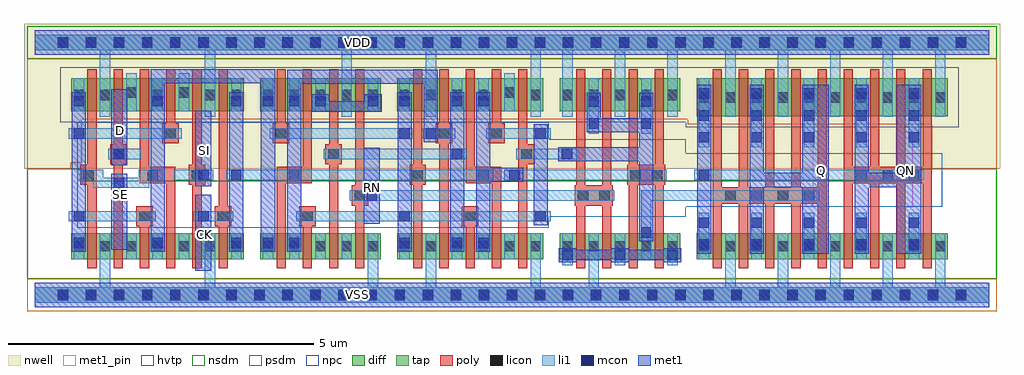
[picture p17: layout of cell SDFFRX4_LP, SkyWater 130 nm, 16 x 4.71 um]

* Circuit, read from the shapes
.subckt SDFFRX4_LP CK D Q QN RN SE SI VDD VSS
XM1 VSS SE n1 VSS sky130_fd_pr__nfet_01v8 w=0.42 l=0.15
XM2 n2 D VSS VSS sky130_fd_pr__nfet_01v8 w=0.42 l=0.15
XM3 n3 n1 n2 VSS sky130_fd_pr__nfet_01v8 w=0.42 l=0.15
XM4 n4 SE n3 VSS sky130_fd_pr__nfet_01v8 w=0.42 l=0.15
XM5 VSS SI n4 VSS sky130_fd_pr__nfet_01v8 w=0.42 l=0.15
XM6 n5 CK VSS VSS sky130_fd_pr__nfet_01v8 w=0.42 l=0.15
XM7 n6 n5 n3 VSS sky130_fd_pr__nfet_01v8 w=0.42 l=0.15
XM8 n7 n8 n6 VSS sky130_fd_pr__nfet_01v8 w=0.42 l=0.15
XM9 n9 n10 n7 VSS sky130_fd_pr__nfet_01v8 w=0.42 l=0.15
XM10 VSS RN n9 VSS sky130_fd_pr__nfet_01v8 w=0.42 l=0.15
XM11 VSS n5 n8 VSS sky130_fd_pr__nfet_01v8 w=0.42 l=0.15
XM12 n10 n6 VSS VSS sky130_fd_pr__nfet_01v8 w=0.42 l=0.15
XM13 n11 n8 n10 VSS sky130_fd_pr__nfet_01v8 w=0.42 l=0.15
XM14 n12 n5 n11 VSS sky130_fd_pr__nfet_01v8 w=0.42 l=0.15
XM15 VSS n13 n12 VSS sky130_fd_pr__nfet_01v8 w=0.42 l=0.15
XM16 VSS RN n14 VSS sky130_fd_pr__nfet_01v8 w=0.42 l=0.15 m=2
XM17 n13 n11 n14 VSS sky130_fd_pr__nfet_01v8 w=0.42 l=0.15 m=2
XM18 VSS n13 n15 VSS sky130_fd_pr__nfet_01v8 w=0.42 l=0.15
XM19 Q n13 VSS VSS sky130_fd_pr__nfet_01v8 w=0.42 l=0.15 m=4
XM20 QN n15 VSS VSS sky130_fd_pr__nfet_01v8 w=0.42 l=0.15 m=4
XM21 VDD SE n1 VDD sky130_fd_pr__pfet_01v8_hvt w=0.54 l=0.15
XM22 n16 D VDD VDD sky130_fd_pr__pfet_01v8_hvt w=0.54 l=0.15
XM23 n3 SE n16 VDD sky130_fd_pr__pfet_01v8_hvt w=0.54 l=0.15
XM24 n17 n1 n3 VDD sky130_fd_pr__pfet_01v8_hvt w=0.54 l=0.15
XM25 VDD SI n17 VDD sky130_fd_pr__pfet_01v8_hvt w=0.54 l=0.15
XM26 n5 CK VDD VDD sky130_fd_pr__pfet_01v8_hvt w=0.54 l=0.15
XM27 n6 n8 n3 VDD sky130_fd_pr__pfet_01v8_hvt w=0.54 l=0.15
XM28 n18 n5 n6 VDD sky130_fd_pr__pfet_01v8_hvt w=0.54 l=0.15
XM29 VDD n10 n18 VDD sky130_fd_pr__pfet_01v8_hvt w=0.54 l=0.15
XM30 n18 RN VDD VDD sky130_fd_pr__pfet_01v8_hvt w=0.54 l=0.15
XM31 VDD n5 n8 VDD sky130_fd_pr__pfet_01v8_hvt w=0.54 l=0.15
XM32 n10 n6 VDD VDD sky130_fd_pr__pfet_01v8_hvt w=0.54 l=0.15
XM33 n11 n5 n10 VDD sky130_fd_pr__pfet_01v8_hvt w=0.54 l=0.15
XM34 n19 n8 n11 VDD sky130_fd_pr__pfet_01v8_hvt w=0.54 l=0.15
XM35 VDD n13 n19 VDD sky130_fd_pr__pfet_01v8_hvt w=0.54 l=0.15
XM36 n13 RN VDD VDD sky130_fd_pr__pfet_01v8_hvt w=0.54 l=0.15 m=2
XM37 n13 n11 VDD VDD sky130_fd_pr__pfet_01v8_hvt w=0.54 l=0.15 m=2
XM38 VDD n13 n15 VDD sky130_fd_pr__pfet_01v8_hvt w=0.62 l=0.15
XM39 Q n13 VDD VDD sky130_fd_pr__pfet_01v8_hvt w=0.62 l=0.15 m=4
XM40 QN n15 VDD VDD sky130_fd_pr__pfet_01v8_hvt w=0.62 l=0.15 m=4
.ends

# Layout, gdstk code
from math import pi, radians
import gdstk
lib = gdstk.Library(unit=1e-6, precision=1e-09)
def R(c, l, rs):  # rectangles x0, y0, x1, y1
    for r in rs: c.add(gdstk.rectangle(r[:2], r[2:], *l))
def A(c, l, x, y, w, h, nx, ny, dx, dy):  # array of equal rectangles
    R(c, l, [(x+i*dx, y+j*dy, x+i*dx+w, y+j*dy+h) for i in range(nx) for j in range(ny)])
def P(c, l, *ps):  # polygons
    for p in ps: c.add(gdstk.Polygon(p, *l))
nwell = (64, 20)
diff = (65, 20)
tap = (65, 44)
poly = (66, 20)
licon = (66, 44)
li1 = (67, 20)
mcon = (67, 44)
met1_pin = (68, 16)
met1 = (68, 20)
hvtp = (78, 44)
nsdm = (93, 44)
psdm = (94, 20)
npc = (95, 20)

pyl1con_c_cdns_758729379 = lib.new_cell('PYL1CON_C_CDNS_758729379653')
R(pyl1con_c_cdns_758729379, poly, [(-0.135,-0.165,0.135,0.165)])
R(pyl1con_c_cdns_758729379, licon, [(-0.085,-0.085,0.085,0.085)])
R(pyl1con_c_cdns_758729379, npc, [(-0.185,-0.185,0.185,0.185)])

l1m1_c_cdns_758729379651 = lib.new_cell('L1M1_C_CDNS_7587293796510')
R(l1m1_c_cdns_758729379651, li1, [(-0.085,-0.525,0.085,0.525)])
A(l1m1_c_cdns_758729379651, mcon, -0.085, -0.445, 0.17, 0.17, 1, 3, 0, 0.36)
R(l1m1_c_cdns_758729379651, met1, [(-0.115,-0.505,0.115,0.505)])

l1m1_c_cdns_758729379655 = lib.new_cell('L1M1_C_CDNS_758729379655')
R(l1m1_c_cdns_758729379655, li1, [(-0.085,-0.165,0.085,0.165)])
R(l1m1_c_cdns_758729379655, mcon, [(-0.085,-0.085,0.085,0.085)])
R(l1m1_c_cdns_758729379655, met1, [(-0.115,-0.145,0.115,0.145)])

l1m1_c_cdns_758729379659 = lib.new_cell('L1M1_C_CDNS_758729379659')
R(l1m1_c_cdns_758729379659, li1, [(-0.085,-0.345,0.085,0.345)])
R(l1m1_c_cdns_758729379659, mcon, [(-0.085,-0.265,0.085,-0.095), (-0.085,0.095,0.085,0.265)])
R(l1m1_c_cdns_758729379659, met1, [(-0.115,-0.325,0.115,0.325)])

l1m1_c_cdns_758729379654 = lib.new_cell('L1M1_C_CDNS_758729379654')
R(l1m1_c_cdns_758729379654, li1, [(-0.165,-0.085,0.165,0.085)])
R(l1m1_c_cdns_758729379654, mcon, [(-0.085,-0.085,0.085,0.085)])
R(l1m1_c_cdns_758729379654, met1, [(-0.115,-0.145,0.115,0.145)])

l1m1_c_cdns_758729379652 = lib.new_cell('L1M1_C_CDNS_758729379652')
R(l1m1_c_cdns_758729379652, li1, [(-0.085,-0.165,0.085,0.165)])
R(l1m1_c_cdns_758729379652, mcon, [(-0.085,-0.085,0.085,0.085)])
R(l1m1_c_cdns_758729379652, met1, [(-0.145,-0.115,0.145,0.115)])

licondiff_c_cdns_7587293 = lib.new_cell('LICONDIFF_C_CDNS_758729379657')
R(licondiff_c_cdns_7587293, diff, [(-0.125,-0.145,0.125,0.145)])
R(licondiff_c_cdns_7587293, licon, [(-0.085,-0.085,0.085,0.085), (-0.085,-0.085,0.085,0.085)])

c_l1m1_c_cdns_758729379651 = lib.new_cell('L1M1_C_CDNS_7587293796512')
R(c_l1m1_c_cdns_758729379651, li1, [(-0.165,-0.085,0.165,0.085)])
R(c_l1m1_c_cdns_758729379651, mcon, [(-0.085,-0.085,0.085,0.085)])
R(c_l1m1_c_cdns_758729379651, met1, [(-0.145,-0.115,0.145,0.115)])

c_pyl1con_c_cdns_758729379 = lib.new_cell('PYL1CON_C_CDNS_7587293796516')
R(c_pyl1con_c_cdns_758729379, poly, [(-0.135,-0.29,0.135,0.29)])
R(c_pyl1con_c_cdns_758729379, licon, [(-0.085,-0.085,0.085,0.085)])
R(c_pyl1con_c_cdns_758729379, npc, [(-0.185,-0.185,0.185,0.185)])

c_l1m1_c_cdns_758729379651_ = lib.new_cell('L1M1_C_CDNS_7587293796519')
R(c_l1m1_c_cdns_758729379651_, li1, [(-0.125,-0.085,0.125,0.085)])
R(c_l1m1_c_cdns_758729379651_, mcon, [(-0.085,-0.085,0.085,0.085)])
R(c_l1m1_c_cdns_758729379651_, met1, [(-0.115,-0.145,0.115,0.145)])

c_pyl1con_c_cdns_758729379_ = lib.new_cell('PYL1CON_C_CDNS_7587293796520')
R(c_pyl1con_c_cdns_758729379_, poly, [(-0.135,-0.37,0.135,0.21)])
R(c_pyl1con_c_cdns_758729379_, licon, [(-0.085,-0.085,0.085,0.085)])
R(c_pyl1con_c_cdns_758729379_, npc, [(-0.185,-0.185,0.185,0.185)])

sdffrx4_lp = lib.new_cell('SDFFRX4_LP')
R(sdffrx4_lp, nwell, [(-0.18,2.07,15.82,4.445)])
R(sdffrx4_lp, diff, [(0.595,0.59,3.425,1.01), (3.695,0.59,5.665,1.01), (5.935,0.59,8.335,1.01), (8.605,0.59,10.575,1.01), (10.845,0.59,14.965,1.01), (10.845,2.93,14.965,3.55), (0.595,3.01,3.425,3.55), (3.695,3.01,5.665,3.55), (5.935,3.01,8.335,3.55), (8.605,3.01,10.575,3.55)])
A(sdffrx4_lp, poly, 1.72, 0.44, 0.15, 0.72, 3, 1, 2.67, 0)
A(sdffrx4_lp, poly, 11.11, 0.44, 0.15, 3.26, 9, 1, 0.43, 0)
R(sdffrx4_lp, poly, [(0.86,0.44,1.01,3.7), (1.29,0.44,1.44,3.7), (2.58,0.44,2.73,3.7), (3.01,0.44,3.16,3.7), (4.82,0.44,4.97,3.7), (5.25,0.44,5.4,3.7), (6.2,0.44,6.35,3.7), (6.63,0.44,6.78,3.7), (7.92,0.44,8.07,3.7), (2.15,2.65,2.3,3.7), (3.96,2.65,4.11,3.7), (7.49,2.65,7.64,3.7)])
P(sdffrx4_lp, poly, [(2.3,2.045),(1.87,2.045),(1.87,3.7),(1.72,3.7),(1.72,1.895),(2.15,1.895),(2.15,0.44),(2.3,0.44)],
  [(4.54,3.7),(4.39,3.7),(4.39,2.045),(3.96,2.045),(3.96,0.44),(4.11,0.44),(4.11,1.895),(4.54,1.895)],
  [(7.64,2.045),(7.21,2.045),(7.21,3.7),(7.06,3.7),(7.06,1.895),(7.49,1.895),(7.49,0.44),(7.64,0.44)],
  [(9.47,1.795),(9.45,1.795),(9.45,3.7),(9.3,3.7),(9.3,1.795),(9.02,1.795),(9.02,3.7),(8.87,3.7),(8.87,1.795),(8.85,1.795),(8.85,1.465),(8.87,1.465),(8.87,0.44),(9.02,0.44),(9.02,1.465),(9.3,1.465),(9.3,0.44),(9.45,0.44),(9.45,1.465),(9.47,1.465)],
  [(10.33,2.135),(10.31,2.135),(10.31,3.7),(10.16,3.7),(10.16,2.135),(9.88,2.135),(9.88,3.7),(9.73,3.7),(9.73,2.135),(9.71,2.135),(9.71,1.805),(9.73,1.805),(9.73,0.44),(9.88,0.44),(9.88,1.805),(10.16,1.805),(10.16,0.44),(10.31,0.44),(10.31,1.805),(10.33,1.805)])
A(sdffrx4_lp, licon, 0.375, -0.085, 0.17, 0.17, 33, 2, 0.46, 4.14)
A(sdffrx4_lp, licon, 1.065, 0.715, 0.17, 0.17, 3, 2, 0.86, 2.48)
A(sdffrx4_lp, licon, 5.975, 0.715, 0.17, 0.17, 4, 2, 0.43, 2.48)
A(sdffrx4_lp, licon, 8.645, 0.715, 0.17, 0.17, 5, 2, 0.43, 2.48)
A(sdffrx4_lp, licon, 10.885, 0.715, 0.17, 0.17, 10, 2, 0.43, 2.44)
A(sdffrx4_lp, licon, 3.735, 3.195, 0.17, 0.17, 5, 1, 0.43, 0)
R(sdffrx4_lp, licon, [(0.635,0.715,0.805,0.885), (3.215,0.715,3.385,0.885), (3.735,0.715,3.905,0.885), (4.165,0.715,4.335,0.885), (5.455,0.715,5.625,0.885), (8.125,0.715,8.295,0.885), (0.635,3.195,0.805,3.365), (3.215,3.195,3.385,3.365), (8.125,3.195,8.295,3.365)])
A(sdffrx4_lp, li1, 0.635, 0.59, 0.17, 0.42, 3, 1, 1.29, 0)
A(sdffrx4_lp, li1, 8.645, 0.59, 0.17, 0.42, 3, 1, 0.86, 0)
A(sdffrx4_lp, li1, 10.885, 0.59, 0.17, 0.42, 5, 1, 0.86, 0)
A(sdffrx4_lp, li1, 10.885, 2.93, 0.17, 0.62, 5, 1, 0.86, 0)
A(sdffrx4_lp, li1, 0.635, 3.01, 0.17, 0.54, 3, 1, 1.29, 0)
A(sdffrx4_lp, li1, 3.735, 3.01, 0.17, 0.54, 3, 1, 0.43, 0)
R(sdffrx4_lp, li1, [(3.735,0.59,3.905,1.01), (4.165,0.59,4.335,1.01), (5.975,0.59,6.145,1.01), (6.835,0.59,7.005,1.01), (7.265,0.59,7.435,1.01), (5.455,3.01,5.625,3.55), (5.975,3.01,6.145,3.55), (6.835,3.01,7.005,3.55), (7.265,3.01,7.435,3.55), (9.075,3.01,9.245,3.55), (9.935,3.01,10.105,3.55)])
P(sdffrx4_lp, li1, [(2.095,2.055),(1.705,2.055),(1.705,1.925),(1.12,1.925),(1.12,2.055),(0.69,2.055),(0.69,1.885),(0.95,1.885),(0.95,1.755),(1.875,1.755),(1.875,1.885),(2.095,1.885)],
  [(12.855,1.715),(9.935,1.715),(9.935,0.59),(10.105,0.59),(10.105,1.545),(12.855,1.545)],
  [(15.64,4.265),(0,4.265),(0,4.015),(1.065,4.015),(1.065,2.925),(1.235,2.925),(1.235,4.015),(2.785,4.015),(2.785,2.925),(2.955,2.925),(2.955,4.015),(5.025,4.015),(5.025,2.925),(5.195,2.925),(5.195,4.015),(6.405,4.015),(6.405,2.925),(6.575,2.925),(6.575,4.015),(8.125,4.015),(8.125,2.925),(8.295,2.925),(8.295,4.015),(8.645,4.015),(8.645,2.925),(8.815,2.925),(8.815,4.015),(9.505,4.015),(9.505,2.925),(9.675,2.925),(9.675,4.015),(10.365,4.015),(10.365,2.925),(10.535,2.925),(10.535,4.015),(11.315,4.015),(11.315,2.925),(11.485,2.925),(11.485,4.015),(12.175,4.015),(12.175,2.925),(12.345,2.925),(12.345,4.015),(13.035,4.015),(13.035,2.925),(13.205,2.925),(13.205,4.015),(13.895,4.015),(13.895,2.925),(14.065,2.925),(14.065,4.015),(14.755,4.015),(14.755,2.925),(14.925,2.925),(14.925,4.015),(15.64,4.015)],
  [(15.64,0.125),(14.925,0.125),(14.925,1.015),(14.755,1.015),(14.755,0.125),(14.065,0.125),(14.065,1.015),(13.895,1.015),(13.895,0.125),(13.205,0.125),(13.205,1.015),(13.035,1.015),(13.035,0.125),(12.345,0.125),(12.345,1.015),(12.175,1.015),(12.175,0.125),(11.485,0.125),(11.485,1.015),(11.315,1.015),(11.315,0.125),(9.245,0.125),(9.245,1.015),(9.075,1.015),(9.075,0.125),(8.295,0.125),(8.295,1.015),(8.125,1.015),(8.125,0.125),(6.575,0.125),(6.575,1.015),(6.405,1.015),(6.405,0.125),(5.625,0.125),(5.625,1.015),(5.455,1.015),(5.455,0.125),(2.955,0.125),(2.955,1.015),(2.785,1.015),(2.785,0.125),(1.235,0.125),(1.235,1.015),(1.065,1.015),(1.065,0.125),(0,0.125),(0,-0.125),(15.64,-0.125)])
A(sdffrx4_lp, mcon, 0.375, -0.085, 0.17, 0.17, 33, 2, 0.46, 4.14)
R(sdffrx4_lp, met1_pin, [(2.63,0.4,2.89,1.64), (1.25,0.745,1.51,1.985), (5.39,1.17,5.65,2.41), (14.13,1.44,14.39,2.68), (12.75,1.445,13.01,2.685), (2.63,1.78,2.89,3.02), (1.25,2.13,1.51,3.37)])
P(sdffrx4_lp, met1, [(8.005,2.085),(7.465,2.085),(7.465,3.235),(7.235,3.235),(7.235,0.705),(7.465,0.705),(7.465,1.855),(8.005,1.855)],
  [(10.135,3.315),(9.905,3.315),(9.905,2.895),(9.045,2.895),(9.045,2.665),(9.905,2.665),(9.905,2.425),(8.575,2.425),(8.575,2.195),(9.905,2.195),(9.905,0.88),(10.135,0.88)],
  [(13.01,3.45),(12.575,3.45),(12.575,2),(11.945,2),(11.945,3.45),(11.715,3.45),(11.715,0.68),(11.945,0.68),(11.945,1.77),(12.575,1.77),(12.575,0.685),(12.75,0.685),(12.75,0.68),(13.01,0.68)],
  [(14.525,3.445),(14.13,3.445),(14.13,2),(13.665,2),(13.665,3.45),(13.435,3.45),(13.435,0.68),(13.665,0.68),(13.665,1.77),(14.13,1.77),(14.13,0.675),(14.525,0.675)])
P(sdffrx4_lp, hvtp, [(15.145,3.73),(0.415,3.73),(0.415,2.83),(10.665,2.83),(10.665,2.75),(15.145,2.75)])
R(sdffrx4_lp, nsdm, [(-0.125,3.875,15.765,4.405)])
P(sdffrx4_lp, nsdm, [(15.765,2.07),(14.515,2.07),(14.515,1.875),(0.77,1.875),(0.77,2.07),(-0.125,2.07),(-0.125,0.265),(15.765,0.265)])
R(sdffrx4_lp, psdm, [(-0.125,-0.265,15.765,0.265)])
P(sdffrx4_lp, psdm, [(15.765,3.875),(-0.125,3.875),(-0.125,2.07),(0.585,2.07),(0.585,2.17),(0.77,2.17),(0.77,2.88),(10.705,2.88),(10.705,2.8),(14.7,2.8),(14.7,2.07),(15.765,2.07)])
P(sdffrx4_lp, npc, [(14.87,2.325),(10.665,2.325),(10.665,2.55),(8.425,2.55),(8.425,2.835),(0.69,2.835),(0.69,1.105),(8.425,1.105),(8.425,1.285),(10.665,1.285),(10.665,1.445),(14.87,1.445)])
sdffrx4_lp.add(gdstk.FlexPath([(6.365,2.65),(6.89,2.65)], 0.17, ends="flush", simple_path=True, layer=67, datatype=20))  # li1
sdffrx4_lp.add(gdstk.FlexPath([(3.85,2.65),(6.185,2.65)], 0.17, ends="flush", simple_path=True, layer=67, datatype=20))  # li1
sdffrx4_lp.add(gdstk.FlexPath([(7.4,2.65),(8.455,2.65)], 0.17, ends="flush", simple_path=True, layer=67, datatype=20))  # li1
sdffrx4_lp.add(gdstk.FlexPath([(0.555,1.29),(1.98,1.29)], 0.17, ends="flush", simple_path=True, layer=67, datatype=20))  # li1
sdffrx4_lp.add(gdstk.FlexPath([(7.78,3.01),(7.78,3.635)], 0.17, ends="flush", simple_path=True, layer=67, datatype=20))  # li1
sdffrx4_lp.add(gdstk.FlexPath([(7.78,0.59),(7.78,1.015)], 0.17, ends="flush", simple_path=True, layer=67, datatype=20))  # li1
sdffrx4_lp.add(gdstk.FlexPath([(5.11,0.59),(5.11,1.015)], 0.17, ends="flush", simple_path=True, layer=67, datatype=20))  # li1
sdffrx4_lp.add(gdstk.FlexPath([(4.68,0.59),(4.68,1.015)], 0.17, ends="flush", simple_path=True, layer=67, datatype=20))  # li1
sdffrx4_lp.add(gdstk.FlexPath([(2.82,1.97),(2.275,1.97)], 0.17, ends="flush", simple_path=True, layer=67, datatype=20))  # li1
sdffrx4_lp.add(gdstk.FlexPath([(3.25,1.29),(2.705,1.29)], 0.17, ends="flush", simple_path=True, layer=67, datatype=20))  # li1
sdffrx4_lp.add(gdstk.FlexPath([(3.135,1.97),(7.515,1.97)], 0.17, ends="flush", simple_path=True, layer=67, datatype=20))  # li1
sdffrx4_lp.add(gdstk.FlexPath([(0.555,2.65),(2.41,2.65)], 0.17, ends="flush", simple_path=True, layer=67, datatype=20))  # li1
sdffrx4_lp.add(gdstk.FlexPath([(1.58,3.01),(1.58,3.635)], 0.17, ends="flush", simple_path=True, layer=67, datatype=20))  # li1
sdffrx4_lp.add(gdstk.FlexPath([(2.44,3.01),(2.44,3.635)], 0.17, ends="flush", simple_path=True, layer=67, datatype=20))  # li1
sdffrx4_lp.add(gdstk.FlexPath([(7.695,1.97),(10.36,1.97)], 0.17, ends="flush", simple_path=True, layer=67, datatype=20))  # li1
sdffrx4_lp.add(gdstk.FlexPath([(5.16,1.63),(9.5,1.63)], 0.17, ends="flush", simple_path=True, layer=67, datatype=20))  # li1
sdffrx4_lp.add(gdstk.FlexPath([(7.89,2.31),(8.885,2.31)], 0.17, ends="flush", simple_path=True, layer=67, datatype=20))  # li1
sdffrx4_lp.add(gdstk.FlexPath([(4.28,1.29),(8.455,1.29)], 0.17, ends="flush", simple_path=True, layer=67, datatype=20))  # li1
sdffrx4_lp.add(gdstk.FlexPath([(10.97,1.97),(14.575,1.97)], 0.17, ends="flush", simple_path=True, layer=67, datatype=20))  # li1
sdffrx4_lp.add(gdstk.FlexPath([(1.58,0.59),(1.58,1.015)], 0.17, ends="flush", simple_path=True, layer=67, datatype=20))  # li1
sdffrx4_lp.add(gdstk.FlexPath([(2.44,0.59),(2.44,1.015)], 0.17, ends="flush", simple_path=True, layer=67, datatype=20))  # li1
sdffrx4_lp.add(gdstk.FlexPath([(1.745,2.31),(1.2,2.31)], 0.17, ends="flush", simple_path=True, layer=67, datatype=20))  # li1
sdffrx4_lp.add(gdstk.FlexPath([(7.085,2.31),(4.73,2.31)], 0.17, ends="flush", simple_path=True, layer=67, datatype=20))  # li1
sdffrx4_lp.add(gdstk.FlexPath([(0,4.14),(15.64,4.14)], 0.4, ends="flush", simple_path=True, layer=68, datatype=20))  # met1
sdffrx4_lp.add(gdstk.FlexPath([(0,0),(15.64,0)], 0.4, ends="flush", simple_path=True, layer=68, datatype=20))  # met1
sdffrx4_lp.add(gdstk.FlexPath([(8.29,1.145),(8.29,2.795)], 0.23, ends="flush", simple_path=True, layer=68, datatype=20))  # met1
sdffrx4_lp.add(gdstk.FlexPath([(2.01,0.8),(2.01,3.585),(3.82,3.585),(3.82,0.8)], 0.23, ends="flush", simple_path=True, layer=68, datatype=20))  # met1
sdffrx4_lp.add(gdstk.FlexPath([(0.72,0.705),(0.72,3.235)], 0.23, ends="flush", simple_path=True, layer=68, datatype=20))  # met1
sdffrx4_lp.add(gdstk.FlexPath([(6.06,0.705),(6.06,3.235)], 0.23, ends="flush", simple_path=True, layer=68, datatype=20))  # met1
sdffrx4_lp.add(gdstk.FlexPath([(3.3,0.705),(3.3,3.235)], 0.23, ends="flush", simple_path=True, layer=68, datatype=20))  # met1
sdffrx4_lp.add(gdstk.FlexPath([(5.52,1.17),(5.52,2.41)], 0.26, ends="flush", simple_path=True, layer=68, datatype=20))  # met1
sdffrx4_lp.add(gdstk.FlexPath([(2.76,0.4),(2.76,1.64)], 0.26, ends="flush", simple_path=True, layer=68, datatype=20))  # met1
sdffrx4_lp.add(gdstk.FlexPath([(2.76,1.78),(2.76,3.02)], 0.26, ends="flush", simple_path=True, layer=68, datatype=20))  # met1
sdffrx4_lp.add(gdstk.FlexPath([(1.38,2.13),(1.38,3.37)], 0.26, ends="flush", simple_path=True, layer=68, datatype=20))  # met1
sdffrx4_lp.add(gdstk.FlexPath([(10.97,0.68),(10.97,3.45)], 0.23, ends="flush", simple_path=True, layer=68, datatype=20))  # met1
sdffrx4_lp.add(gdstk.FlexPath([(8.585,0.655),(10.595,0.655)], 0.17, ends="flush", simple_path=True, layer=68, datatype=20))  # met1
sdffrx4_lp.add(gdstk.FlexPath([(4.535,3.09),(5.685,3.09)], 0.17, ends="flush", simple_path=True, layer=68, datatype=20))  # met1
sdffrx4_lp.add(gdstk.FlexPath([(1.38,0.745),(1.38,1.985)], 0.26, ends="flush", simple_path=True, layer=68, datatype=20))  # met1
sdffrx4_lp.add(gdstk.FlexPath([(6.92,0.705),(6.92,3.235)], 0.23, ends="flush", simple_path=True, layer=68, datatype=20))  # met1
sdffrx4_lp.add(gdstk.FlexPath([(6.49,2.565),(6.49,3.58),(4.25,3.58),(4.25,0.795)], 0.23, ends="flush", simple_path=True, layer=68, datatype=20))  # met1
sdffrx4_lp.add(gdstk.FlexPath([(0,4.14),(15.64,4.14)], 0.4, ends="flush", simple_path=True, layer=68, datatype=16))  # met1_pin
sdffrx4_lp.add(gdstk.FlexPath([(0,0),(15.64,0)], 0.4, ends="flush", simple_path=True, layer=68, datatype=16))  # met1_pin
sdffrx4_lp.add(gdstk.FlexPath([(0,4.14),(15.64,4.14)], 0.25, ends="flush", simple_path=True, layer=65, datatype=44))  # tap
sdffrx4_lp.add(gdstk.FlexPath([(0,0),(15.64,0)], 0.25, ends="flush", simple_path=True, layer=65, datatype=44))  # tap
sdffrx4_lp.add(gdstk.Reference(pyl1con_c_cdns_758729379, (6.705,2.65), rotation=pi))
sdffrx4_lp.add(gdstk.Reference(pyl1con_c_cdns_758729379, (4.895,2.31)))
sdffrx4_lp.add(gdstk.Reference(pyl1con_c_cdns_758729379, (5.325,1.63), rotation=pi, x_reflection=True))
sdffrx4_lp.add(gdstk.Reference(pyl1con_c_cdns_758729379, (6.275,1.97), x_reflection=True))
sdffrx4_lp.add(gdstk.Reference(pyl1con_c_cdns_758729379, (3.085,1.29), x_reflection=True))
sdffrx4_lp.add(gdstk.Reference(pyl1con_c_cdns_758729379, (2.655,1.97), x_reflection=True))
sdffrx4_lp.add(gdstk.Reference(pyl1con_c_cdns_758729379, (2.225,2.65), rotation=pi))
sdffrx4_lp.add(gdstk.Reference(pyl1con_c_cdns_758729379, (1.795,1.29), x_reflection=True))
sdffrx4_lp.add(gdstk.Reference(pyl1con_c_cdns_758729379, (4.465,1.29), rotation=pi))
sdffrx4_lp.add(gdstk.Reference(pyl1con_c_cdns_758729379, (4.035,2.65), x_reflection=True))
sdffrx4_lp.add(gdstk.Reference(pyl1con_c_cdns_758729379, (7.565,2.65), rotation=pi))
sdffrx4_lp.add(gdstk.Reference(pyl1con_c_cdns_758729379, (7.135,1.29), x_reflection=True))
sdffrx4_lp.add(gdstk.Reference(pyl1con_c_cdns_758729379, (8.055,2.31), rotation=pi, x_reflection=True))
sdffrx4_lp.add(gdstk.Reference(pyl1con_c_cdns_758729379, (9.335,1.63), rotation=pi, x_reflection=True))
sdffrx4_lp.add(gdstk.Reference(pyl1con_c_cdns_758729379, (8.985,1.63), rotation=pi, x_reflection=True))
sdffrx4_lp.add(gdstk.Reference(pyl1con_c_cdns_758729379, (13.55,1.97), rotation=3*pi/2, x_reflection=True))
sdffrx4_lp.add(gdstk.Reference(pyl1con_c_cdns_758729379, (13.98,1.97), rotation=3*pi/2, x_reflection=True))
sdffrx4_lp.add(gdstk.Reference(pyl1con_c_cdns_758729379, (12.69,1.63), rotation=3*pi/2, x_reflection=True))
sdffrx4_lp.add(gdstk.Reference(pyl1con_c_cdns_758729379, (12.26,1.63), rotation=3*pi/2, x_reflection=True))
sdffrx4_lp.add(gdstk.Reference(pyl1con_c_cdns_758729379, (11.83,1.63), rotation=3*pi/2, x_reflection=True))
sdffrx4_lp.add(gdstk.Reference(pyl1con_c_cdns_758729379, (14.41,1.97), rotation=3*pi/2, x_reflection=True))
sdffrx4_lp.add(gdstk.Reference(pyl1con_c_cdns_758729379, (0.875,1.97)))
sdffrx4_lp.add(gdstk.Reference(pyl1con_c_cdns_758729379, (10.195,1.97), rotation=pi, x_reflection=True))
sdffrx4_lp.add(gdstk.Reference(pyl1con_c_cdns_758729379, (9.845,1.97), rotation=pi, x_reflection=True))
sdffrx4_lp.add(gdstk.Reference(pyl1con_c_cdns_758729379, (1.365,2.31)))
sdffrx4_lp.add(gdstk.Reference(pyl1con_c_cdns_758729379, (11.4,1.63), rotation=3*pi/2, x_reflection=True))
sdffrx4_lp.add(gdstk.Reference(l1m1_c_cdns_758729379651, (13.55,2.945)))
sdffrx4_lp.add(gdstk.Reference(l1m1_c_cdns_758729379651, (14.41,2.945)))
sdffrx4_lp.add(gdstk.Reference(l1m1_c_cdns_758729379651, (10.97,2.945)))
sdffrx4_lp.add(gdstk.Reference(l1m1_c_cdns_758729379651, (12.69,2.945)))
sdffrx4_lp.add(gdstk.Reference(l1m1_c_cdns_758729379651, (11.83,2.945)))
sdffrx4_lp.add(gdstk.Reference(l1m1_c_cdns_758729379655, (3.82,3.175)))
sdffrx4_lp.add(gdstk.Reference(l1m1_c_cdns_758729379655, (3.82,0.85)))
sdffrx4_lp.add(gdstk.Reference(l1m1_c_cdns_758729379655, (2.01,3.175)))
sdffrx4_lp.add(gdstk.Reference(l1m1_c_cdns_758729379655, (2.01,0.85)))
sdffrx4_lp.add(gdstk.Reference(l1m1_c_cdns_758729379655, (0.72,3.175)))
sdffrx4_lp.add(gdstk.Reference(l1m1_c_cdns_758729379655, (0.72,0.85)))
sdffrx4_lp.add(gdstk.Reference(l1m1_c_cdns_758729379655, (6.06,0.85)))
sdffrx4_lp.add(gdstk.Reference(l1m1_c_cdns_758729379655, (6.06,3.175)))
sdffrx4_lp.add(gdstk.Reference(l1m1_c_cdns_758729379655, (3.3,0.85)))
sdffrx4_lp.add(gdstk.Reference(l1m1_c_cdns_758729379655, (3.3,3.175)))
sdffrx4_lp.add(gdstk.Reference(l1m1_c_cdns_758729379655, (4.25,3.175)))
sdffrx4_lp.add(gdstk.Reference(l1m1_c_cdns_758729379655, (4.25,0.85)))
sdffrx4_lp.add(gdstk.Reference(l1m1_c_cdns_758729379655, (6.92,0.85)))
sdffrx4_lp.add(gdstk.Reference(l1m1_c_cdns_758729379655, (6.92,3.175)))
sdffrx4_lp.add(gdstk.Reference(l1m1_c_cdns_758729379655, (7.35,3.175)))
sdffrx4_lp.add(gdstk.Reference(l1m1_c_cdns_758729379655, (7.35,0.85)))
sdffrx4_lp.add(gdstk.Reference(l1m1_c_cdns_758729379655, (10.02,1.025), rotation=pi, x_reflection=True))
sdffrx4_lp.add(gdstk.Reference(l1m1_c_cdns_758729379659, (9.16,2.99), rotation=pi, x_reflection=True))
sdffrx4_lp.add(gdstk.Reference(l1m1_c_cdns_758729379659, (10.02,2.99), rotation=pi, x_reflection=True))
sdffrx4_lp.add(gdstk.Reference(l1m1_c_cdns_758729379659, (13.55,1.005)))
sdffrx4_lp.add(gdstk.Reference(l1m1_c_cdns_758729379659, (14.41,1.005)))
sdffrx4_lp.add(gdstk.Reference(l1m1_c_cdns_758729379659, (12.69,1.005)))
sdffrx4_lp.add(gdstk.Reference(l1m1_c_cdns_758729379659, (11.83,1.005)))
sdffrx4_lp.add(gdstk.Reference(l1m1_c_cdns_758729379659, (10.97,1.005)))
sdffrx4_lp.add(gdstk.Reference(l1m1_c_cdns_758729379654, (8.29,2.65)))
sdffrx4_lp.add(gdstk.Reference(l1m1_c_cdns_758729379654, (8.29,1.29)))
sdffrx4_lp.add(gdstk.Reference(l1m1_c_cdns_758729379654, (6.92,2.31), rotation=pi, x_reflection=True))
sdffrx4_lp.add(gdstk.Reference(l1m1_c_cdns_758729379654, (2.76,1.29), x_reflection=True))
sdffrx4_lp.add(gdstk.Reference(l1m1_c_cdns_758729379654, (2.76,1.97), x_reflection=True))
sdffrx4_lp.add(gdstk.Reference(l1m1_c_cdns_758729379654, (3.3,1.97)))
sdffrx4_lp.add(gdstk.Reference(l1m1_c_cdns_758729379654, (6.06,1.29)))
sdffrx4_lp.add(gdstk.Reference(l1m1_c_cdns_758729379654, (5.52,1.63), x_reflection=True))
sdffrx4_lp.add(gdstk.Reference(l1m1_c_cdns_758729379654, (1.38,1.84), x_reflection=True))
sdffrx4_lp.add(gdstk.Reference(l1m1_c_cdns_758729379654, (1.38,2.31), x_reflection=True))
sdffrx4_lp.add(gdstk.Reference(l1m1_c_cdns_758729379654, (10.97,1.97)))
sdffrx4_lp.add(gdstk.Reference(l1m1_c_cdns_758729379654, (0.72,1.29)))
sdffrx4_lp.add(gdstk.Reference(l1m1_c_cdns_758729379654, (0.72,2.65)))
sdffrx4_lp.add(gdstk.Reference(l1m1_c_cdns_758729379652, (9.59,0.655)))
sdffrx4_lp.add(gdstk.Reference(l1m1_c_cdns_758729379652, (4.68,3.175)))
sdffrx4_lp.add(gdstk.Reference(l1m1_c_cdns_758729379652, (10.45,0.655)))
sdffrx4_lp.add(gdstk.Reference(l1m1_c_cdns_758729379652, (8.73,0.655)))
sdffrx4_lp.add(gdstk.Reference(l1m1_c_cdns_758729379652, (5.54,3.175)))
sdffrx4_lp.add(gdstk.Reference(licondiff_c_cdns_7587293, (7.78,3.32)))
sdffrx4_lp.add(gdstk.Reference(licondiff_c_cdns_7587293, (7.78,0.8)))
sdffrx4_lp.add(gdstk.Reference(licondiff_c_cdns_7587293, (5.11,0.8)))
sdffrx4_lp.add(gdstk.Reference(licondiff_c_cdns_7587293, (4.68,0.8)))
sdffrx4_lp.add(gdstk.Reference(licondiff_c_cdns_7587293, (2.44,0.8)))
sdffrx4_lp.add(gdstk.Reference(licondiff_c_cdns_7587293, (1.58,0.8)))
sdffrx4_lp.add(gdstk.Reference(licondiff_c_cdns_7587293, (2.44,3.32)))
sdffrx4_lp.add(gdstk.Reference(licondiff_c_cdns_7587293, (1.58,3.32)))
sdffrx4_lp.add(gdstk.Reference(c_l1m1_c_cdns_758729379651, (8.72,2.31), rotation=pi, x_reflection=True))
sdffrx4_lp.add(gdstk.Reference(c_l1m1_c_cdns_758729379651, (7.86,1.97)))
sdffrx4_lp.add(gdstk.Reference(c_pyl1con_c_cdns_758729379, (4.25,1.97), rotation=pi/2, x_reflection=True))
sdffrx4_lp.add(gdstk.Reference(c_pyl1con_c_cdns_758729379, (7.35,1.97), rotation=pi/2))
sdffrx4_lp.add(gdstk.Reference(c_l1m1_c_cdns_758729379651_, (6.49,2.65)))
sdffrx4_lp.add(gdstk.Reference(c_l1m1_c_cdns_758729379651_, (6.06,2.65)))
sdffrx4_lp.add(gdstk.Reference(c_pyl1con_c_cdns_758729379_, (1.93,1.97), rotation=pi/2))
sdffrx4_lp.add(gdstk.Label('Q', (12.895,2.04), layer=68, texttype=5))
sdffrx4_lp.add(gdstk.Label('RN', (5.535,1.765), layer=68, texttype=5))
sdffrx4_lp.add(gdstk.Label('CK', (2.775,0.995), layer=68, texttype=5))
sdffrx4_lp.add(gdstk.Label('SI', (2.775,2.375), layer=68, texttype=5))
sdffrx4_lp.add(gdstk.Label('D', (1.395,2.7), layer=68, texttype=5))
sdffrx4_lp.add(gdstk.Label('SE', (1.395,1.65), layer=68, texttype=5))
sdffrx4_lp.add(gdstk.Label('QN', (14.275,2.035), layer=68, texttype=5))
sdffrx4_lp.add(gdstk.Label('VDD', (5.285,4.145), layer=68, texttype=5))
sdffrx4_lp.add(gdstk.Label('VSS', (5.285,0.005), layer=68, texttype=5))

lib.write_gds('SDFFRX4_LP.gds')
